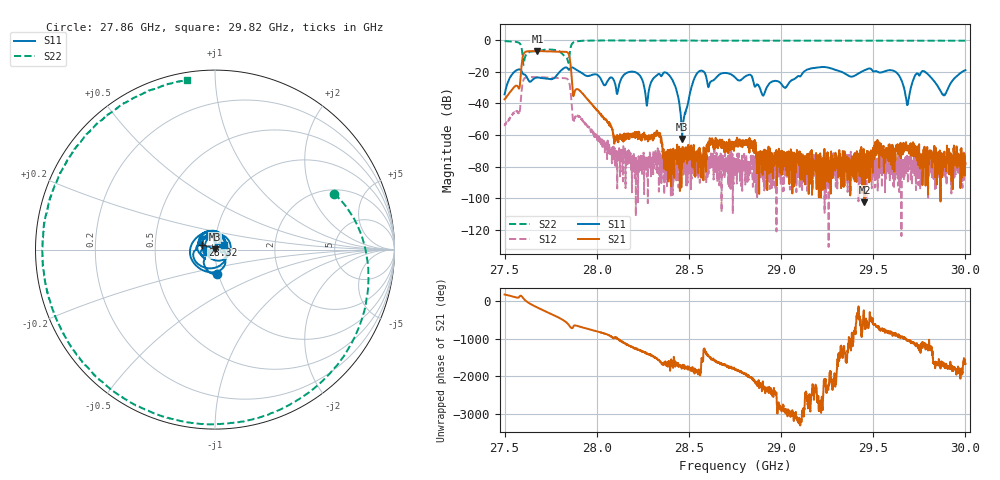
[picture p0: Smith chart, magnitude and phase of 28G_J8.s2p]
!Keysight Technologies,N5234A,MY55441357,A.10.47.05
!Date: Sunday, November 19, 2017 17:33:52
!Correction: S11(Full 2 Port(1,2))
!S21(Full 2 Port(1,2))
!S12(Full 2 Port(1,2))
!S22(Full 2 Port(1,2))
!S2P File: Measurements: S11, S21, S12, S22:
# Hz S  dB  R 50
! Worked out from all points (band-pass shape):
!   2501 points, 27.5 GHz to 30 GHz, reference 50 ohm
!   highest |S21| = -6.92 dB at 27.68 GHz (marker M1); lowest = -102.6 dB at 29.45 GHz (marker M2)
!   |S21| within 3 dB of the highest: 27.6 GHz to 27.85 GHz (250.7 MHz wide, 0.904 % of centre)
!   lowest |S11| = -62.5 dB at 28.46 GHz (marker M3), VSWR 1.00, Z = 50 + j0.075 ohm
!   |S11| at or under -10 dB: start of sweep to end of sweep
!   |S22| runs from -15.7 to -0.2 dB; largest |S21 - S12| = 0.52
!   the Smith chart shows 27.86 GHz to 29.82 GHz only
!   S11 on the Smith chart (normalised r, x): 27.86 GHz: 0.98, -0.28; 28.32 GHz: 0.87, +0.04; 29.82 GHz: 1.11, +0.06
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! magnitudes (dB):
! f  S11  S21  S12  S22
! 27.5 GHz  -34.3  -37.4  -53.4  -0.6
! 27.68 GHz  -23.6  -6.9  -23.3  -7.1
! 27.84 GHz  -17.3  -7.5  -24.3  -11.2
! 27.86 GHz  -17.2  -23.5  -40.2  -2.7
! 27.92 GHz  -20.6  -33.0  -49.9  -0.4
! 28.11 GHz  -30.7  -62.6  -73.1  -0.3
! 28.21 GHz  -20.2  -59.9  -87.2  -0.2
! 28.27 GHz  -40.6  -61.2  -74.2  -0.3
! 28.32 GHz  -22.6  -58.7  -77.6  -0.3
! 28.33 GHz  -21.5  -59.7  -77.4  -0.3
! 28.41 GHz  -25.5  -79.5  -97.9  -0.3
! 28.46 GHz  -62.5  -71.4  -76.4  -0.3
! 28.55 GHz  -19.9  -68.9  -76.1  -0.3
! 28.75 GHz  -23.6  -64.7  -77.8  -0.3
! 28.9 GHz  -35.1  -74.2  -79.1  -0.3
! 29.17 GHz  -17.8  -69.6  -80.9  -0.3
! 29.45 GHz  -19.1  -102.6  -87.2  -0.4
! 29.58 GHz  -19.0  -66.1  -81.6  -0.4
! 29.68 GHz  -40.6  -66.9  -79.2  -0.4
! 29.82 GHz  -24.6  -76.1  -81.8  -0.4
! 29.89 GHz  -34.8  -74.1  -80.2  -0.4
! 30 GHz  -19.0  -77.7  -76.0  -0.4
